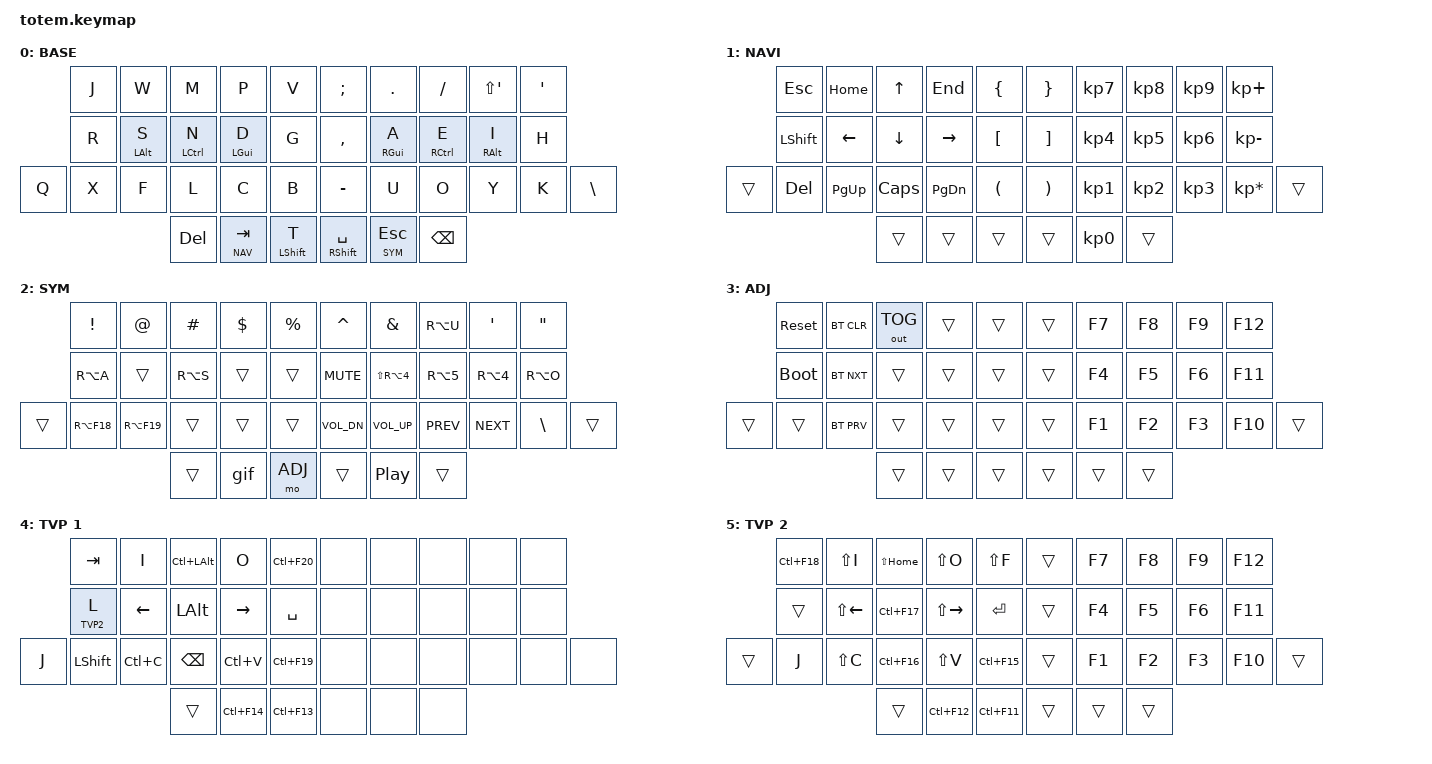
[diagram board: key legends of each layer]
//
//                                                        ▀▀▀▀▀     ▀▀▀▀▀          ▀▀█▀▀
//                                                        ▄▀▀▀▄  ▄  ▄▀▀▀▄  ▄  ▄▀▀▀▄  █  ▄▀▀▀▄
//                                                        █   █  █  █   █  █  █   █  █  █   █
//                                                         ▀▀▀   █   ▀▀▀   █   ▀▀▀   ▀   ▀▀▀
//                                                               █      ▄▄▄█▄▄▄    █   █  
//                                                               ▀      █  █  █     █▄█
//                                                             ▀▀▀▀▀    █  █  █      ▀
//                                                                      ▀  ▀  ▀
//
// ▄▄▄▄▄▄▄▄▄▄▄▄▄▄▄▄▄▄▄▄▄▄▄▄▄▄▄▄▄▄▄▄▄▄▄▄▄▄▄▄▄▄▄▄▄▄▄▄▄▄▄▄▄▄▄▄▄▄▄▄▄▄▄▄▄▄▄▄▄▄▄▄▄▄▄▄▄▄▄▄▄▄▄▄▄▄▄▄▄▄▄▄▄▄▄▄▄▄▄▄▄▄▄▄▄▄▄▄▄▄▄▄▄▄▄▄▄▄▄▄▄▄▄▄▄▄▄▄▄▄▄▄▄▄▄▄▄▄▄▄▄▄▄▄▄▄▄▄▄
       

// to-do
// from solo: 
// nav, 

#include <behaviors.dtsi>
#include <dt-bindings/zmk/keys.h>
#include <dt-bindings/zmk/bt.h>
#include <dt-bindings/zmk/outputs.h>

#define BASE 0
#define NAV  1
#define SYM  2
#define ADJ  3
#define TVP1 4
#define TVP2 5

&mt {
  quick-tap-ms = <100>;
  global-quick-tap;
  flavor = "tap-preferred";
  tapping-term-ms = <170>;
};

/ {
     combos {
            compatible = "zmk,combos";
            combo_esc {
                timeout-ms = <50>;
                key-positions = <0 1>;
                bindings = <&kp ESC>;
            };
            combo_tvp {
                timeout-ms = <100>;
                key-positions = <11 12 13>;
                bindings = <&tog TVP1>;
            };
            combo_bspc {
                timeout-ms = <50>;
                key-positions = <17 7>;
                bindings = <&kp BSPC>;
                };
       combo_r_enter {
        timeout-ms = <50>;
        key-positions = <16 6>;
        bindings = <&kp RET>;
        }; 

        combo_r_enter_down {
        timeout-ms = <50>;
        key-positions = <16 27>;
        bindings = <&kp RET>;
        }; 

        combo_bspc_down {
        timeout-ms = <50>;
        key-positions = <17 28>;
        bindings = <&kp BSPC>;
        };

        combo_l_enter {
        timeout-ms = <50>;
        key-positions = <3 13>;
        bindings = <&kp RET>;
        };

        combo_delete {
        timeout-ms = <50>;
        key-positions = <12 2>;
        bindings = <&kp DEL>;
        };

        combo_q {
            timeout-ms = <50>;
            key-positions = <0 10>;
            bindings = <&kp Q>;
        };

        combo_z  {
            timeout-ms = <50>;
            key-positions = <10 21>;
            bindings = <&kp Z>;
        };

        };

    macros {
        gif: gif {
            label = "giphy";
            compatible = "zmk,behavior-macro";
            #binding-cells = <0>;
            bindings
                = <&macro_press &kp LSHFT>
                , <&macro_tap &kp N2>
                , <&macro_release &kp LSHFT>
                , <&macro_tap &kp G &kp I &kp F>
                ;
        };
    };

        keymap {
                compatible = "zmk,keymap";
// ▄▄▄▄▄▄▄▄▄▄▄▄▄▄▄▄▄▄▄▄▄▄▄▄▄▄▄▄▄▄▄▄▄▄▄▄▄▄▄▄▄▄▄▄▄▄▄▄▄▄▄▄▄▄▄▄▄▄▄▄▄▄▄▄▄▄▄▄▄▄▄▄▄▄▄▄▄▄▄▄▄▄▄▄▄▄▄▄▄▄▄▄▄▄▄▄▄▄▄▄▄▄▄▄▄▄▄▄▄▄▄▄▄▄▄▄▄▄▄▄▄▄▄▄▄▄▄▄▄▄▄▄▄▄▄▄▄▄▄▄▄▄▄▄▄▄▄▄▄

// key numbers for combos
//             ┏━━━━━━━━━━━┳━━━━━━━━━━━┳━━━━━━━━━━━┳━━━━━━━━━━━┳━━━━━━━━━━━┓   ┏━━━━━━━━━━━┳━━━━━━━━━━━┳━━━━━━━━━━━┳━━━━━━━━━━━┳━━━━━━━━━━━┓
//             ┃     0     ┃     1     ┃     2     ┃     3     ┃     4     ┃   ┃     5     ┃     6     ┃     7     ┃     8     ┃     9     ┃
//             ┣━━━━━━━━━━━╋━━━━━━━━━━━╋━━━━━━━━━━━╋━━━━━━━━━━━╋━━━━━━━━━━━┫   ┣━━━━━━━━━━━╋━━━━━━━━━━━╋━━━━━━━━━━━╋━━━━━━━━━━━╋━━━━━━━━━━━┫
//             ┃    10     ┃    11     ┃    12     ┃    13     ┃    14     ┃   ┃    15     ┃    16     ┃    17     ┃    18     ┃    19     ┃
// ┏━━━━━━━━━━━╋━━━━━━━━━━━╋━━━━━━━━━━━╋━━━━━━━━━━━╋━━━━━━━━━━━╋━━━━━━━━━━━┫   ┣━━━━━━━━━━━╋━━━━━━━━━━━╋━━━━━━━━━━━╋━━━━━━━━━━━╋━━━━━━━━━━━╋━━━━━━━━━━━┓
// ┃     20    ┃    21     ┃    22     ┃    23     ┃    24     ┃    25     ┃   ┃    26     ┃    27     ┃    28     ┃    29     ┃    30     ┃     31    ┃
// ┗━━━━━━━━━━━┻━━━━━━━━━━━┻━━━━━━━━━━━╋━━━━━━━━━━━╋━━━━━━━━━━━╋━━━━━━━━━━━┫   ┣━━━━━━━━━━━╋━━━━━━━━━━━╋━━━━━━━━━━━╋━━━━━━━━━━━┻━━━━━━━━━━━┻━━━━━━━━━━━┛
//                                     ┃    DEL    ┃    TAB    ┃     T     ┃   ┃    SPC    ┃    ESC    ┃   BSPC    ┃
//                                     ┗━━━━━━━━━━━┻━━━━━━━━━━━┻━━━━━━━━━━━┛   ┗━━━━━━━━━━━┻━━━━━━━━━━━┻━━━━━━━━━━━┛
// ▄▄▄▄▄▄▄▄▄▄▄▄▄▄▄▄▄▄▄▄▄▄▄▄▄▄▄▄▄▄▄▄▄▄▄▄▄▄▄▄▄▄▄▄▄▄▄▄▄▄▄▄▄▄▄▄▄▄▄▄▄▄▄▄▄▄▄▄▄▄▄▄▄▄▄▄▄▄▄▄▄▄▄▄▄▄▄▄▄▄▄▄▄▄▄▄▄▄▄▄▄▄▄▄▄▄▄▄▄▄▄▄▄▄▄▄▄▄▄▄▄▄▄▄▄▄▄▄▄▄▄▄▄▄▄▄▄▄▄▄▄▄▄▄▄▄▄▄▄

                base_layer {
// ┏━━━━━━━━━━━━━━━━━━━━━━━━━━━━━━━━━━━━━━━┓
label= "BASE"                              ;
// ┗━━━━━━━━━━━━━━━━━━━━━━━━━━━━━━━━━━━━━━━┛
//             ┏━━━━━━━━━━━┳━━━━━━━━━━━┳━━━━━━━━━━━┳━━━━━━━━━━━┳━━━━━━━━━━━┓   ┏━━━━━━━━━━━┳━━━━━━━━━━━┳━━━━━━━━━━━┳━━━━━━━━━━━┳━━━━━━━━━━━┓
//             ┃     J    ESC    W     ┃     M     ┃     P     ┃     V     ┃   ┃     ;     ┃     .     ┃     /     ┃     "     ┃     '     ┃
//             ┣━━━━━Q━━━━━╋━━━━━━━━━━━╋━━━━RET━━━━╋━━━━━━━━━━━╋━━━━━━━━━━━┫   ┣━━━━━━━━━━━╋━━━━━━━━━━━╋━━━━━━━━━━━╋━━━━━━━━━━━╋━━━━━━━━━━━┫
//             ┃     R     ┃     S     ┃     N     ┃     D     ┃     G     ┃   ┃     ,     ┃     A     ┃     E     ┃     I     ┃     H     ┃
// ┏━━━━━━━━━━━╋━━━━━Z━━━━━╋━━━━━━━━━━━╋━━━━━━━━━━━╋━━━━━━━━━━━╋━━━━━━━━━━━┫   ┣━━━━━━━━━━━╋━━━━━━━━━━━╋━━━━━━━━━━━╋━━━━━━━━━━━╋━━━━━━━━━━━╋━━━━━━━━━━━┓
// ┃     Q     ┃     X     ┃     F     ┃     L     ┃     C     ┃     B     ┃   ┃     -     ┃     U     ┃     O     ┃     Y     ┃     K     ┃     \     ┃
// ┗━━━━━━━━━━━┻━━━━━━━━━━━┻━━━━━━━━━━━╋━━━━━━━━━━━╋━━━━━━━━━━━╋━━━━━━━━━━━┫   ┣━━━━━━━━━━━╋━━━━━━━━━━━╋━━━━━━━━━━━╋━━━━━━━━━━━┻━━━━━━━━━━━┻━━━━━━━━━━━┛
//                                     ┃    DEL    ┃    TAB    ┃   ENTER   ┃   ┃    SPC    ┃    ESC    ┃   BSPC    ┃
//                                     ┗━━━━━━━━━━━┻━━━━━━━━━━━┻━━━━━━━━━━━┛   ┗━━━━━━━━━━━┻━━━━━━━━━━━┻━━━━━━━━━━━┛
 bindings = <
// ╷           ╷           ╷           ╷           ╷           ╷           ╷   ╷           ╷           ╷           ╷           ╷           ╷           ╷

                &kp J       &kp W       &kp M       &kp P       &kp V           &kp SEMICOLON    &kp PERIOD   &kp SLASH   &kp LS(SQT)  &kp SQT
                &kp R       &mt LALT S  &mt LCTRL N  &mt LGUI D       &kp G     &kp COMMA        &mt RGUI A  &mt RCTRL E  &mt RALT I   &kp H
        &kp Q  &kp X  &kp F       &kp L        &kp C            &kp B            &kp MINUS              &kp U        &kp O        &kp Y        &kp K    &kp BSLH
                                        &kp DEL   &lt NAV TAB   &mt LSHFT T      &mt RSHIFT SPACE       &lt SYM ESC  &kp BSPC
                        >;
                };

// ▄▄▄▄▄▄▄▄▄▄▄▄▄▄▄▄▄▄▄▄▄▄▄▄▄▄▄▄▄▄▄▄▄▄▄▄▄▄▄▄▄▄▄▄▄▄▄▄▄▄▄▄▄▄▄▄▄▄▄▄▄▄▄▄▄▄▄▄▄▄▄▄▄▄▄▄▄▄▄▄▄▄▄▄▄▄▄▄▄▄▄▄▄▄▄▄▄▄▄▄▄▄▄▄▄▄▄▄▄▄▄▄▄▄▄▄▄▄▄▄▄▄▄▄▄▄▄▄▄▄▄▄▄▄▄▄▄▄▄▄▄▄▄▄▄▄▄▄▄


                nav_layer {
// ┏━━━━━━━━━━━━━━━━━━━━━━━━━━━━━━━━━━━━━━━┓
label= "NAVI"                              ;
// ┗━━━━━━━━━━━━━━━━━━━━━━━━━━━━━━━━━━━━━━━┛
//             ┏━━━━━━━━━━━┳━━━━━━━━━━━┳━━━━━━━━━━━┳━━━━━━━━━━━┳━━━━━━━━━━━┓   ┏━━━━━━━━━━━┳━━━━━━━━━━━┳━━━━━━━━━━━┳━━━━━━━━━━━┳━━━━━━━━━━━┓
//             ┃    ESC    ┃   HOME    ┃     UP    ┃    END    ┃     {     ┃   ┃     }     ┃     7     ┃     8     ┃     9     ┃     +     ┃
//             ┣━━━━━━━━━━━╋━━━━━━━━━━━╋━━━━━━━━━━━╋━━━━━━━━━━━╋━━━━━━━━━━━┫   ┣━━━━━━━━━━━╋━━━━━━━━━━━╋━━━━━━━━━━━╋━━━━━━━━━━━╋━━━━━━━━━━━┫
//             ┃   SHIFT   ┃   LEFT    ┃    DOWN   ┃   RIGHT   ┃     [     ┃   ┃     ]     ┃     4     ┃     5     ┃     6     ┃     -     ┃
// ┏━━━━━━━━━━━╋━━━━━━━━━━━╋━━━━━━━━━━━╋━━━━━━━━━━━╋━━━━━━━━━━━╋━━━━━━━━━━━┫   ┣━━━━━━━━━━━╋━━━━━━━━━━━╋━━━━━━━━━━━╋━━━━━━━━━━━╋━━━━━━━━━━━╋━━━━━━━━━━━┓
// ┃           ┃           ┃   P UP    ┃  C LOCK   ┃  P DOWN   ┃     (     ┃   ┃     )     ┃     1     ┃     2     ┃     3     ┃     *     ┃           ┃
// ┗━━━━━━━━━━━┻━━━━━━━━━━━┻━━━━━━━━━━━╋━━━━━━━━━━━╋━━━━━━━━━━━╋━━━━━━━━━━━┫   ┣━━━━━━━━━━━╋━━━━━━━━━━━╋━━━━━━━━━━━╋━━━━━━━━━━━┻━━━━━━━━━━━┻━━━━━━━━━━━┛
//                                     ┃           ┃    TAB    ┃    SPC    ┃   ┃    DEL    ┃     0     ┃           ┃
//                                     ┗━━━━━━━━━━━┻━━━━━━━━━━━┻━━━━━━━━━━━┛   ┗━━━━━━━━━━━┻━━━━━━━━━━━┻━━━━━━━━━━━┛
 bindings = <
// ╷           ╷           ╷           ╷           ╷           ╷           ╷   ╷           ╷           ╷           ╷           ╷           ╷           ╷

                &kp ESC     &kp HOME    &kp UP      &kp END     &kp LBRC        &kp RBRC    &kp KP_N7   &kp KP_N8   &kp KP_N9   &kp KP_PLUS
                &kp LSHFT   &kp LEFT    &kp DOWN    &kp RIGHT   &kp LBKT        &kp RBKT    &kp KP_N4   &kp KP_N5   &kp KP_N6   &kp KP_MINUS
    &trans      &kp DEL     &kp PG_UP   &kp CAPS    &kp PG_DN   &kp LPAR        &kp RPAR    &kp KP_N1   &kp KP_N2   &kp KP_N3   &kp KP_MULTIPLY &trans      
                                        &trans      &trans      &trans          &trans      &kp KP_N0   &trans      
                        >;
                };

// ▄▄▄▄▄▄▄▄▄▄▄▄▄▄▄▄▄▄▄▄▄▄▄▄▄▄▄▄▄▄▄▄▄▄▄▄▄▄▄▄▄▄▄▄▄▄▄▄▄▄▄▄▄▄▄▄▄▄▄▄▄▄▄▄▄▄▄▄▄▄▄▄▄▄▄▄▄▄▄▄▄▄▄▄▄▄▄▄▄▄▄▄▄▄▄▄▄▄▄▄▄▄▄▄▄▄▄▄▄▄▄▄▄▄▄▄▄▄▄▄▄▄▄▄▄▄▄▄▄▄▄▄▄▄▄▄▄▄▄▄▄▄▄▄▄▄▄▄▄


                sim_layer {
// ┏━━━━━━━━━━━━━━━━━━━━━━━━━━━━━━━━━━━━━━━┓
label= "SYM"                               ;
// ┗━━━━━━━━━━━━━━━━━━━━━━━━━━━━━━━━━━━━━━━┛
//             ┏━━━━━━━━━━━┳━━━━━━━━━━━┳━━━━━━━━━━━┳━━━━━━━━━━━┳━━━━━━━━━━━┓   ┏━━━━━━━━━━━┳━━━━━━━━━━━┳━━━━━━━━━━━┳━━━━━━━━━━━┳━━━━━━━━━━━┓
//             ┃     !     ┃     @     ┃     #     ┃     $     ┃     %     ┃   ┃     ˆ     ┃     &     ┃     Ü     ┃     '     ┃     "     ┃
//             ┣━━━━━━━━━━━╋━━━━━━━━━━━╋━━━━━━━━━━━╋━━━━━━━━━━━╋━━━━━━━━━━━┫   ┣━━━━━━━━━━━╋━━━━━━━━━━━╋━━━━━━━━━━━╋━━━━━━━━━━━╋━━━━━━━━━━━┫
//             ┃     Ä     ┃           ┃    SZ     ┃           ┃           ┃   ┃   MUTE    ┃   YEN     ┃   EURO    ┃  POUND    ┃     Ö     ┃
// ┏━━━━━━━━━━━╋━━━━━━━━━━━╋━━━━━━━━━━━╋━━━━━━━━━━━╋━━━━━━━━━━━╋━━━━━━━━━━━┫   ┣━━━━━━━━━━━╋━━━━━━━━━━━╋━━━━━━━━━━━╋━━━━━━━━━━━╋━━━━━━━━━━━╋━━━━━━━━━━━┓
// ┃           ┃  EMAIL1   ┃  EMAIL2   ┃           ┃           ┃           ┃   ┃   VOL-    ┃   VOL+    ┃   LAST    ┃   NEXT    ┃     \     ┃           ┃
// ┗━━━━━━━━━━━┻━━━━━━━━━━━┻━━━━━━━━━━━╋━━━━━━━━━━━╋━━━━━━━━━━━╋━━━━━━━━━━━┫   ┣━━━━━━━━━━━╋━━━━━━━━━━━╋━━━━━━━━━━━╋━━━━━━━━━━━┻━━━━━━━━━━━┻━━━━━━━━━━━┛
//                                     ┃           ┃    GIF    ┃    ADJ    ┃   ┃           ┃           ┃           ┃
//                                     ┗━━━━━━━━━━━┻━━━━━━━━━━━┻━━━━━━━━━━━┛   ┗━━━━━━━━━━━┻━━━━━━━━━━━┻━━━━━━━━━━━┛
 bindings = <
// ╷           ╷           ╷           ╷           ╷           ╷           ╷   ╷           ╷           ╷           ╷           ╷           ╷           ╷

                &kp EXCL    &kp AT      &kp HASH    &kp DLLR    &kp PRCNT       &kp CARET   &kp AMPS    &kp RA(U)   &kp SQT     &kp DQT       
                &kp RA(A)   &trans      &kp RA(S)   &trans      &trans          &kp C_MUTE  &kp LS(RA(N4)) &kp RA(N5) &kp RA(N4)   &kp RA(O) 
    &trans      &kp RA(F18) &kp RA(F19) &trans      &trans      &trans          &kp C_VOL_DN &kp C_VOL_UP &kp C_PREV &kp C_NEXT  &kp BSLH   &trans         
                                        &trans      &gif        &mo ADJ         &trans      &kp C_PP    &trans      
                        >;
                };

// ▄▄▄▄▄▄▄▄▄▄▄▄▄▄▄▄▄▄▄▄▄▄▄▄▄▄▄▄▄▄▄▄▄▄▄▄▄▄▄▄▄▄▄▄▄▄▄▄▄▄▄▄▄▄▄▄▄▄▄▄▄▄▄▄▄▄▄▄▄▄▄▄▄▄▄▄▄▄▄▄▄▄▄▄▄▄▄▄▄▄▄▄▄▄▄▄▄▄▄▄▄▄▄▄▄▄▄▄▄▄▄▄▄▄▄▄▄▄▄▄▄▄▄▄▄▄▄▄▄▄▄▄▄▄▄▄▄▄▄▄▄▄▄▄▄▄▄▄▄


                adjust_layer {
// ┏━━━━━━━━━━━━━━━━━━━━━━━━━━━━━━━━━━━━━━━┓
label= "ADJ"                               ;
// ┗━━━━━━━━━━━━━━━━━━━━━━━━━━━━━━━━━━━━━━━┛
//             ┏━━━━━━━━━━━┳━━━━━━━━━━━┳━━━━━━━━━━━┳━━━━━━━━━━━┳━━━━━━━━━━━┓   ┏━━━━━━━━━━━┳━━━━━━━━━━━┳━━━━━━━━━━━┳━━━━━━━━━━━┳━━━━━━━━━━━┓
//             ┃   RESET   ┃ BT CLEAR  ┃  OUT TOG  ┃           ┃           ┃   ┃           ┃    F7     ┃    F8     ┃    F9     ┃    F12    ┃
//             ┣━━━━━━━━━━━╋━━━━━━━━━━━╋━━━━━━━━━━━╋━━━━━━━━━━━╋━━━━━━━━━━━┫   ┣━━━━━━━━━━━╋━━━━━━━━━━━╋━━━━━━━━━━━╋━━━━━━━━━━━╋━━━━━━━━━━━┫
//             ┃ BOOTLOAD  ┃ BT NEXT   ┃           ┃           ┃           ┃   ┃           ┃    F4     ┃    F5     ┃    F6     ┃    F11    ┃
// ┏━━━━━━━━━━━╋━━━━━━━━━━━╋━━━━━━━━━━━╋━━━━━━━━━━━╋━━━━━━━━━━━╋━━━━━━━━━━━┫   ┣━━━━━━━━━━━╋━━━━━━━━━━━╋━━━━━━━━━━━╋━━━━━━━━━━━╋━━━━━━━━━━━╋━━━━━━━━━━━┓
// ┃           ┃           ┃ BT PREV   ┃           ┃           ┃           ┃   ┃           ┃    F1     ┃    F2     ┃    F3     ┃    F10    ┃           ┃
// ┗━━━━━━━━━━━┻━━━━━━━━━━━┻━━━━━━━━━━━╋━━━━━━━━━━━╋━━━━━━━━━━━╋━━━━━━━━━━━┫   ┣━━━━━━━━━━━╋━━━━━━━━━━━╋━━━━━━━━━━━╋━━━━━━━━━━━┻━━━━━━━━━━━┻━━━━━━━━━━━┛
//                                     ┃           ┃           ┃           ┃   ┃           ┃           ┃           ┃
//                                     ┗━━━━━━━━━━━┻━━━━━━━━━━━┻━━━━━━━━━━━┛   ┗━━━━━━━━━━━┻━━━━━━━━━━━┻━━━━━━━━━━━┛
 bindings = <
// ╷           ╷           ╷           ╷           ╷           ╷           ╷   ╷           ╷           ╷           ╷           ╷           ╷           ╷

                &sys_reset  &bt BT_CLR &out OUT_TOG &trans      &trans          &trans      &kp F7      &kp F8      &kp F9      &kp F12
                &bootloader &bt BT_NXT  &trans      &trans      &trans          &trans      &kp F4      &kp F5      &kp F6      &kp F11  
    &trans      &trans      &bt BT_PRV  &trans      &trans      &trans          &trans      &kp F1      &kp F2      &kp F3      &kp F10     &trans         
                                        &trans      &trans      &trans          &trans      &trans      &trans      
                        >;
                };

// ▄▄▄▄▄▄▄▄▄▄▄▄▄▄▄▄▄▄▄▄▄▄▄▄▄▄▄▄▄▄▄▄▄▄▄▄▄▄▄▄▄▄▄▄▄▄▄▄▄▄▄▄▄▄▄▄▄▄▄▄▄▄▄▄▄▄▄▄▄▄▄▄▄▄▄▄▄▄▄▄▄▄▄▄▄▄▄▄▄▄▄▄▄▄▄▄▄▄▄▄▄▄▄▄▄▄▄▄▄▄▄▄▄▄▄▄▄▄▄▄▄▄▄▄▄▄▄▄▄▄▄▄▄▄▄▄▄▄▄▄▄▄▄▄▄▄▄▄▄


                tvp1_layer {
// ┏━━━━━━━━━━━━━━━━━━━━━━━━━━━━━━━━━━━━━━━┓
label= "TVP 1"                             ;
// ┗━━━━━━━━━━━━━━━━━━━━━━━━━━━━━━━━━━━━━━━┛
//             ┏━━━━━━━━━━━┳━━━━━━━━━━━┳━━━━━━━━━━━┳━━━━━━━━━━━┳━━━━━━━━━━━┓   ┏━━━━━━━━━━━┳━━━━━━━━━━━┳━━━━━━━━━━━┳━━━━━━━━━━━┳━━━━━━━━━━━┓
//             ┃ NEXT FILE ┃ MARK IN   ┃ ROTATE    ┃ MARK OUT  ┃ SHOW SNAP ┃   ┃           ┃           ┃           ┃           ┃           ┃
//             ┣━━━━━━━━━━━╋━━━━━━━━━━━╋━━━━━━━━━━━╋━━━━━━━━━━━╋━━━━━━━━━━━┫   ┣━━━━━━━━━━━╋━━━━━━━━━━━╋━━━━━━━━━━━╋━━━━━━━━━━━╋━━━━━━━━━━━┫
//             ┃ TVP II    ┃ LEFT      ┃ PAN       ┃ RIGHT     ┃ PLAY/FLIP ┃   ┃           ┃           ┃           ┃           ┃           ┃
// ┏━━━━━━━━━━━╋━━━━━━━━━━━╋━━━━━━━━━━━╋━━━━━━━━━━━╋━━━━━━━━━━━╋━━━━━━━━━━━┫   ┣━━━━━━━━━━━╋━━━━━━━━━━━╋━━━━━━━━━━━╋━━━━━━━━━━━╋━━━━━━━━━━━╋━━━━━━━━━━━┓
// ┃ FULLSCR   ┃ SHIFT     ┃ COPY      ┃ DELETE    ┃ PASTE     ┃ IMG MARK  ┃   ┃           ┃           ┃           ┃           ┃           ┃           ┃
// ┗━━━━━━━━━━━┻━━━━━━━━━━━┻━━━━━━━━━━━╋━━━━━━━━━━━╋━━━━━━━━━━━╋━━━━━━━━━━━┫   ┣━━━━━━━━━━━╋━━━━━━━━━━━╋━━━━━━━━━━━╋━━━━━━━━━━━┻━━━━━━━━━━━┻━━━━━━━━━━━┛
//                                     ┃           ┃ UNDO/SAVE ┃  SEL/MOV  ┃   ┃           ┃           ┃           ┃
//                                     ┗━━━━━━━━━━━┻━━━━━━━━━━━┻━━━━━━━━━━━┛   ┗━━━━━━━━━━━┻━━━━━━━━━━━┻━━━━━━━━━━━┛
 bindings = <
// ╷           ╷           ╷           ╷           ╷           ╷           ╷   ╷           ╷           ╷           ╷           ╷           ╷           ╷

                &kp TAB     &kp I       &kp LC(LALT) &kp O      &kp LC(F20)     &none       &none       &none       &none       &none
                &lt TVP2 L  &kp LEFT    &kp LALT    &kp RIGHT   &kp SPACE       &none       &none       &none       &none       &none
    &kp J       &kp LSHFT   &kp LC(C)   &kp BSPC    &kp LC(V)   &kp LC(F19)     &none       &none       &none       &none       &none       &none        
                                        &trans      &kp LC(F14) &kp LC(F13)     &none       &none       &none    
                        >;
                };

// ▄▄▄▄▄▄▄▄▄▄▄▄▄▄▄▄▄▄▄▄▄▄▄▄▄▄▄▄▄▄▄▄▄▄▄▄▄▄▄▄▄▄▄▄▄▄▄▄▄▄▄▄▄▄▄▄▄▄▄▄▄▄▄▄▄▄▄▄▄▄▄▄▄▄▄▄▄▄▄▄▄▄▄▄▄▄▄▄▄▄▄▄▄▄▄▄▄▄▄▄▄▄▄▄▄▄▄▄▄▄▄▄▄▄▄▄▄▄▄▄▄▄▄▄▄▄▄▄▄▄▄▄▄▄▄▄▄▄▄▄▄▄▄▄▄▄▄▄▄


                tvp2_layer {
// ┏━━━━━━━━━━━━━━━━━━━━━━━━━━━━━━━━━━━━━━━┓
label= "TVP 2"                             ;
// ┗━━━━━━━━━━━━━━━━━━━━━━━━━━━━━━━━━━━━━━━┛
//             ┏━━━━━━━━━━━┳━━━━━━━━━━━┳━━━━━━━━━━━┳━━━━━━━━━━━┳━━━━━━━━━━━┓   ┏━━━━━━━━━━━┳━━━━━━━━━━━┳━━━━━━━━━━━┳━━━━━━━━━━━┳━━━━━━━━━━━┓
//             ┃ SOLO      ┃ TOGGLE IN ┃ RESET ROT ┃ TOGGLE OUT┃ TAKE SNAP ┃   ┃           ┃           ┃           ┃           ┃           ┃
//             ┣━━━━━━━━━━━╋━━━━━━━━━━━╋━━━━━━━━━━━╋━━━━━━━━━━━╋━━━━━━━━━━━┫   ┣━━━━━━━━━━━╋━━━━━━━━━━━╋━━━━━━━━━━━╋━━━━━━━━━━━╋━━━━━━━━━━━┫
//             ┃ ---       ┃ LAST KEY  ┃ NEW KEY   ┃ NEXT KEY  ┃ ENTER     ┃   ┃           ┃           ┃           ┃           ┃           ┃
// ┏━━━━━━━━━━━╋━━━━━━━━━━━╋━━━━━━━━━━━╋━━━━━━━━━━━╋━━━━━━━━━━━╋━━━━━━━━━━━┫   ┣━━━━━━━━━━━╋━━━━━━━━━━━╋━━━━━━━━━━━╋━━━━━━━━━━━╋━━━━━━━━━━━╋━━━━━━━━━━━┓
// ┃           ┃ FULLSCR   ┃ CPY2BRUSH ┃ DEL HEAD  ┃ PSTinPLACE┃ BOOK MARK ┃   ┃           ┃           ┃           ┃           ┃           ┃           ┃
// ┗━━━━━━━━━━━┻━━━━━━━━━━━┻━━━━━━━━━━━╋━━━━━━━━━━━╋━━━━━━━━━━━╋━━━━━━━━━━━┫   ┣━━━━━━━━━━━╋━━━━━━━━━━━╋━━━━━━━━━━━╋━━━━━━━━━━━┻━━━━━━━━━━━┻━━━━━━━━━━━┛
//                                     ┃           ┃ REDO/SAV1 ┃TRANS/WARP ┃   ┃           ┃           ┃           ┃
//                                     ┗━━━━━━━━━━━┻━━━━━━━━━━━┻━━━━━━━━━━━┛   ┗━━━━━━━━━━━┻━━━━━━━━━━━┻━━━━━━━━━━━┛
 bindings = <
// ╷           ╷           ╷           ╷           ╷           ╷           ╷   ╷           ╷           ╷           ╷           ╷           ╷           ╷

                &kp LC(F18) &kp LS(I)  &kp LS(HOME) &kp LS(O)   &kp LS(F)       &trans      &kp F7      &kp F8      &kp F9      &kp F12
                &trans      &kp LS(LEFT) &kp LC(F17) &kp LS(RIGHT) &kp RET      &trans      &kp F4      &kp F5      &kp F6      &kp F11  
    &trans      &kp J       &kp LS(C)   &kp LC(F16) &kp LS(V)   &kp LC(F15)     &trans      &kp F1      &kp F2      &kp F3      &kp F10     &trans         
                                        &trans      &kp LC(F12) &kp LC(F11)     &trans      &trans      &trans      
                        >;
                };
        };
};
